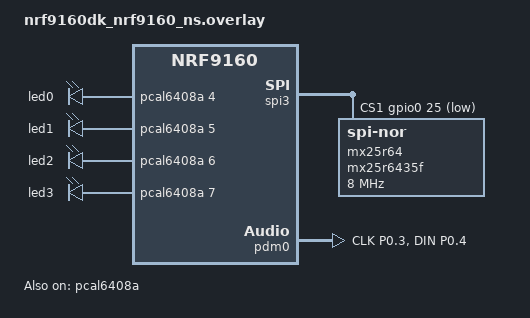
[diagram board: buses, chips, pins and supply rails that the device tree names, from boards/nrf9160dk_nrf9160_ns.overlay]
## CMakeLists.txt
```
cmake_minimum_required(VERSION 3.20.0)

set(CMAKE_CXX_STANDARD 11)
set(CMAKE_CXX_STANDARD_REQUIRED ON)

# This firmware uses X-Nucleo IKS02A1 shield
set(SHIELD x_nucleo_iks02a1)

find_package(Zephyr REQUIRED HINTS $ENV{ZEPHYR_BASE})

project(firmware-nordic-nrf91)

zephyr_compile_definitions(PROJECT_NAME=${PROJECT_NAME})

# Needed for colorful output
zephyr_compile_options(-fdiagnostics-color=always)

# Do not quantize filterbank
# Enable manual loop unrolling in DSP functions
add_definitions(-DEIDSP_QUANTIZE_FILTERBANK=0
                -DARM_MATH_LOOPUNROLL
                )

# Add all required source files
add_subdirectory(ei-model/edge-impulse-sdk/cmake/zephyr)
add_subdirectory(firmware-sdk)
add_subdirectory(src/inference)
add_subdirectory(src/sensors)
add_subdirectory(src)

# Include directories (everything in the SDK is already included here)
target_include_directories(app PRIVATE .)
target_include_directories(app PRIVATE ei-model)

# Use GLOB to include model files, because model file names differes whether model is EON compiled or not
RECURSIVE_FIND_FILE(MODEL_FILES ei-model/tflite-model "*.cpp")
target_sources(app PRIVATE ${MODEL_FILES})
```

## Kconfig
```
#
# Copyright (c) 2020 Nordic Semiconductor ASA
#
# SPDX-License-Identifier: LicenseRef-Nordic-5-Clause
#

menu "MQTT Edge Impulse Demo"
config MQTT_PUB_TOPIC_PREFIX
	string "MQTT publish topic"
	default "ei/demo"

config MQTT_BROKER_HOSTNAME
	string "MQTT broker hostname"
	default "broker.hivemq.com"

config MQTT_BROKER_PORT
	int "MQTT broker port"
	default 1883

config MQTT_RECONNECT_DELAY_S
	int "Seconds to delay before attempting to reconnect to the broker."
	default 60

config LTE_CONNECT_RETRY_DELAY_S
	int "Seconds to delay before attempting to retry LTE connection."
	default 120

endmenu

menu "Zephyr Kernel"
source "Kconfig.zephyr"
endmenu

module = MQTT_EI_DEMO
module-str = MQTT Edge Impulse Demo
source "${ZEPHYR_BASE}/subsys/logging/Kconfig.template.log_config"
```

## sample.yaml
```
sample:
  description: firmware-nordic-nrf91, the accelerometer and microphone Edge Impulse example for Zephyr
    application
  name: firmware-nordic-nrf91
common:
    tags: introduction
    harness: console
    harness_config:
      type: one_line
      regex:
        - "Hello World! (.*)"
```

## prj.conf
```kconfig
# /* The Clear BSD License
#  *
#  * Copyright (c) 2025 EdgeImpulse Inc.
#  * All rights reserved.
#  *
#  * Redistribution and use in source and binary forms, with or without
#  * modification, are permitted (subject to the limitations in the disclaimer
#  * below) provided that the following conditions are met:
#  *
#  *   * Redistributions of source code must retain the above copyright notice,
#  *   this list of conditions and the following disclaimer.
#  *
#  *   * Redistributions in binary form must reproduce the above copyright
#  *   notice, this list of conditions and the following disclaimer in the
#  *   documentation and/or other materials provided with the distribution.
#  *
#  *   * Neither the name of the copyright holder nor the names of its
#  *   contributors may be used to endorse or promote products derived from this
#  *   software without specific prior written permission.
#  *
#  * NO EXPRESS OR IMPLIED LICENSES TO ANY PARTY'S PATENT RIGHTS ARE GRANTED BY
#  * THIS LICENSE. THIS SOFTWARE IS PROVIDED BY THE COPYRIGHT HOLDERS AND
#  * CONTRIBUTORS "AS IS" AND ANY EXPRESS OR IMPLIED WARRANTIES, INCLUDING, BUT NOT
#  * LIMITED TO, THE IMPLIED WARRANTIES OF MERCHANTABILITY AND FITNESS FOR A
#  * PARTICULAR PURPOSE ARE DISCLAIMED. IN NO EVENT SHALL THE COPYRIGHT HOLDER OR
#  * CONTRIBUTORS BE LIABLE FOR ANY DIRECT, INDIRECT, INCIDENTAL, SPECIAL,
#  * EXEMPLARY, OR CONSEQUENTIAL DAMAGES (INCLUDING, BUT NOT LIMITED TO,
#  * PROCUREMENT OF SUBSTITUTE GOODS OR SERVICES; LOSS OF USE, DATA, OR PROFITS; OR
#  * BUSINESS INTERRUPTION) HOWEVER CAUSED AND ON ANY THEORY OF LIABILITY, WHETHER
#  * IN CONTRACT, STRICT LIABILITY, OR TORT (INCLUDING NEGLIGENCE OR OTHERWISE)
#  * ARISING IN ANY WAY OUT OF THE USE OF THIS SOFTWARE, EVEN IF ADVISED OF THE
#  * POSSIBILITY OF SUCH DAMAGE.
#  */

# General config
CONFIG_NEWLIB_LIBC=y
CONFIG_NEWLIB_LIBC_NANO=y
CONFIG_NEWLIB_LIBC_FLOAT_PRINTF=y
CONFIG_ASSERT=y
CONFIG_REBOOT=y
CONFIG_FPU=y
CONFIG_CPP=y
CONFIG_GLIBCXX_LIBCPP=y
CONFIG_BOOT_BANNER=n

# Heap and stacks
CONFIG_HEAP_MEM_POOL_SIZE=47250
CONFIG_MAIN_STACK_SIZE=2048
CONFIG_SYSTEM_WORKQUEUE_STACK_SIZE=4096
CONFIG_HW_STACK_PROTECTION=y

# Logging
CONFIG_LOG=y
CONFIG_LOG_MODE_DEFERRED=y
CONFIG_I2S_LOG_LEVEL_OFF=y
CONFIG_CBPRINTF_PACKAGE_LOG_LEVEL_OFF=y
CONFIG_FLASH_LOG_LEVEL_OFF=y
CONFIG_SENSOR_LOG_LEVEL_OFF=y
CONFIG_AUDIO_DMIC_LOG_LEVEL_WRN=y

# nRF modem library
CONFIG_NRF_MODEM_LIB=y
CONFIG_NRF_MODEM_LIB_ON_FAULT_APPLICATION_SPECIFIC=y

# Modem info
CONFIG_MODEM_INFO=y

# Flash - Used in FOTA, settings and storage for P-GPS.
CONFIG_FLASH=y
CONFIG_FLASH_PAGE_LAYOUT=y
CONFIG_FLASH_MAP=y
CONFIG_STREAM_FLASH=y
CONFIG_MPU_ALLOW_FLASH_WRITE=y
CONFIG_SPI_NOR_FLASH_LAYOUT_PAGE_SIZE=4096

# LEDs
CONFIG_LED=y
CONFIG_GPIO=y
CONFIG_LED_GPIO=y

# Audio/PDM support
CONFIG_I2S=y
CONFIG_AUDIO=y
CONFIG_AUDIO_DMIC=y

# Sensors on X-Nucleo IKS02A1
CONFIG_I2C=y
CONFIG_SENSOR=y

# UART Config
CONFIG_UART_INTERRUPT_DRIVEN=y
```

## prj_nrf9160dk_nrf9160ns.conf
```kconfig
# GPIO Settings
CONFIG_GPIO=y

# Enable c++ support
CONFIG_CPLUSPLUS=y
CONFIG_LIB_CPLUSPLUS=y
CONFIG_NEWLIB_LIBC=y
CONFIG_NEWLIB_LIBC_FLOAT_PRINTF=y

# Enable reboot from user space
CONFIG_REBOOT=y

# Peripheral settings
CONFIG_FPU=y

# Stack & Heap size
CONFIG_MAIN_STACK_SIZE=8192

# Serial console
CONFIG_SERIAL=y
CONFIG_UART_INTERRUPT_DRIVEN=y
CONFIG_CONSOLE_SUBSYS=n
CONFIG_CONSOLE_GETCHAR=n

# i2c configuration for accelerometer
CONFIG_I2C=y
CONFIG_I2C_NRFX=y

# GPIO expander for controlling LEDs
CONFIG_GPIO_PCAL6408A=y

# Enable PDM driver
CONFIG_NRFX_PDM=y

# Logging settings
CONFIG_ASSERT=y
CONFIG_DEBUG=y
CONFIG_LOG=y

# External Flash memory
CONFIG_FLASH=y
CONFIG_FLASH_PAGE_LAYOUT=y
CONFIG_MPU_ALLOW_FLASH_WRITE=y
CONFIG_SPI=y
CONFIG_SPI_NOR=y
CONFIG_SPI_NOR_FLASH_LAYOUT_PAGE_SIZE=4096
CONFIG_SPI_NOR_SFDP_DEVICETREE=y

# Modem info
CONFIG_HEAP_MEM_POOL_SIZE=4096
CONFIG_AT_CMD=y

# Logging
CONFIG_ASSERT=y
CONFIG_DEBUG=y
CONFIG_LOG=y

# Networking
CONFIG_NETWORKING=y
CONFIG_NET_SOCKETS=y
CONFIG_MODEM_INFO=y
CONFIG_NET_NATIVE=n
CONFIG_NET_SOCKETS_OFFLOAD=y
CONFIG_NET_SOCKETS_POSIX_NAMES=y

# LTE link control
CONFIG_LTE_LINK_CONTROL=y
CONFIG_LTE_AUTO_INIT_AND_CONNECT=n

# Enable PDN management
CONFIG_PDN=y
CONFIG_PDN_SYS_INIT=y
CONFIG_PDN_DEFAULTS_OVERRIDE=y
CONFIG_PDN_LEGACY_PCO=y
CONFIG_PDN_DEFAULT_APN="arkessalp.com"
#CONFIG_PDN_DEFAULT_FAM=0
#CONFIG_PDN_DEFAULT_AUTH=0
CONFIG_PDN_DEFAULT_USERNAME="arkessa"
CONFIG_PDN_DEFAULT_PASSWORD="arkessa"

# Set network type
CONFIG_LTE_NETWORK_MODE_NBIOT_GPS=y

# Modem library
CONFIG_NRF_MODEM_LIB=y

# AT Host
# CONFIG_AT_HOST_LIBRARY=y

# MQTT
CONFIG_MQTT_LIB=y
CONFIG_MQTT_LIB_TLS=n
CONFIG_MQTT_CLEAN_SESSION=y

CONFIG_NRF_MODEM_LIB_SYS_INIT=n
# CONFIG_MODEM_KEY_MGMT=y
```

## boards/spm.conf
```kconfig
# /* The Clear BSD License
#  *
#  * Copyright (c) 2025 EdgeImpulse Inc.
#  * All rights reserved.
#  *
#  * Redistribution and use in source and binary forms, with or without
#  * modification, are permitted (subject to the limitations in the disclaimer
#  * below) provided that the following conditions are met:
#  *
#  *   * Redistributions of source code must retain the above copyright notice,
#  *   this list of conditions and the following disclaimer.
#  *
#  *   * Redistributions in binary form must reproduce the above copyright
#  *   notice, this list of conditions and the following disclaimer in the
#  *   documentation and/or other materials provided with the distribution.
#  *
#  *   * Neither the name of the copyright holder nor the names of its
#  *   contributors may be used to endorse or promote products derived from this
#  *   software without specific prior written permission.
#  *
#  * NO EXPRESS OR IMPLIED LICENSES TO ANY PARTY'S PATENT RIGHTS ARE GRANTED BY
#  * THIS LICENSE. THIS SOFTWARE IS PROVIDED BY THE COPYRIGHT HOLDERS AND
#  * CONTRIBUTORS "AS IS" AND ANY EXPRESS OR IMPLIED WARRANTIES, INCLUDING, BUT NOT
#  * LIMITED TO, THE IMPLIED WARRANTIES OF MERCHANTABILITY AND FITNESS FOR A
#  * PARTICULAR PURPOSE ARE DISCLAIMED. IN NO EVENT SHALL THE COPYRIGHT HOLDER OR
#  * CONTRIBUTORS BE LIABLE FOR ANY DIRECT, INDIRECT, INCIDENTAL, SPECIAL,
#  * EXEMPLARY, OR CONSEQUENTIAL DAMAGES (INCLUDING, BUT NOT LIMITED TO,
#  * PROCUREMENT OF SUBSTITUTE GOODS OR SERVICES; LOSS OF USE, DATA, OR PROFITS; OR
#  * BUSINESS INTERRUPTION) HOWEVER CAUSED AND ON ANY THEORY OF LIABILITY, WHETHER
#  * IN CONTRACT, STRICT LIABILITY, OR TORT (INCLUDING NEGLIGENCE OR OTHERWISE)
#  * ARISING IN ANY WAY OUT OF THE USE OF THIS SOFTWARE, EVEN IF ADVISED OF THE
#  * POSSIBILITY OF SUCH DAMAGE.
#  */

CONFIG_IS_SPM=y

# Make watchdog timers non-secure (so they can be used in the non-secure image).
CONFIG_NRFX_PDM=y
```

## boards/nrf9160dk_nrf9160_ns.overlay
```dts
/* The Clear BSD License
 *
 * Copyright (c) 2025 EdgeImpulse Inc.
 * All rights reserved.
 *
 * Redistribution and use in source and binary forms, with or without
 * modification, are permitted (subject to the limitations in the disclaimer
 * below) provided that the following conditions are met:
 *
 *   * Redistributions of source code must retain the above copyright notice,
 *   this list of conditions and the following disclaimer.
 *
 *   * Redistributions in binary form must reproduce the above copyright
 *   notice, this list of conditions and the following disclaimer in the
 *   documentation and/or other materials provided with the distribution.
 *
 *   * Neither the name of the copyright holder nor the names of its
 *   contributors may be used to endorse or promote products derived from this
 *   software without specific prior written permission.
 *
 * NO EXPRESS OR IMPLIED LICENSES TO ANY PARTY'S PATENT RIGHTS ARE GRANTED BY
 * THIS LICENSE. THIS SOFTWARE IS PROVIDED BY THE COPYRIGHT HOLDERS AND
 * CONTRIBUTORS "AS IS" AND ANY EXPRESS OR IMPLIED WARRANTIES, INCLUDING, BUT NOT
 * LIMITED TO, THE IMPLIED WARRANTIES OF MERCHANTABILITY AND FITNESS FOR A
 * PARTICULAR PURPOSE ARE DISCLAIMED. IN NO EVENT SHALL THE COPYRIGHT HOLDER OR
 * CONTRIBUTORS BE LIABLE FOR ANY DIRECT, INDIRECT, INCIDENTAL, SPECIAL,
 * EXEMPLARY, OR CONSEQUENTIAL DAMAGES (INCLUDING, BUT NOT LIMITED TO,
 * PROCUREMENT OF SUBSTITUTE GOODS OR SERVICES; LOSS OF USE, DATA, OR PROFITS; OR
 * BUSINESS INTERRUPTION) HOWEVER CAUSED AND ON ANY THEORY OF LIABILITY, WHETHER
 * IN CONTRACT, STRICT LIABILITY, OR TORT (INCLUDING NEGLIGENCE OR OTHERWISE)
 * ARISING IN ANY WAY OUT OF THE USE OF THIS SOFTWARE, EVEN IF ADVISED OF THE
 * POSSIBILITY OF SUCH DAMAGE.
 */

/ {
	aliases {
		ext-flash = &mx25r64;
	};

	/* Configure partition manager to use mx25r64 as the external flash */
	chosen {
		nordic,pm-ext-flash = &mx25r64;
	};
};

&pcal6408a {
	status = "okay";
};

&led0 {
	gpios = <&pcal6408a 4 GPIO_ACTIVE_HIGH>;
};

&led1 {
	gpios = <&pcal6408a 5 GPIO_ACTIVE_HIGH>;
};

&led2 {
	gpios = <&pcal6408a 6 GPIO_ACTIVE_HIGH>;
};

&led3 {
	gpios = <&pcal6408a 7 GPIO_ACTIVE_HIGH>;
};

&spi3 {
	cs-gpios = <&arduino_header 16 GPIO_ACTIVE_LOW>, /* D10 */
		   <&gpio0 25 GPIO_ACTIVE_LOW>;
	mx25r64: mx25r6435f@1 {
		compatible = "jedec,spi-nor";
		reg = <1>;
		spi-max-frequency = <8000000>;
		jedec-id = [c2 28 17];
		sfdp-bfp = [
			e5 20 f1 ff  ff ff ff 03  44 eb 08 6b  08 3b 04 bb
			ee ff ff ff  ff ff 00 ff  ff ff 00 ff  0c 20 0f 52
			10 d8 00 ff  23 72 f5 00  82 ed 04 cc  44 83 68 44
			30 b0 30 b0  f7 c4 d5 5c  00 be 29 ff  f0 d0 ff ff
		];
		size = <67108864>;
		mxicy,mx25r-power-mode = "high-performance";
	};
};

/* Enable high drive mode for the SPI3 pins to get a square signal at 8 MHz */
&spi3_default {
	group1 {
		nordic,drive-mode = <NRF_DRIVE_H0H1>;
	};
};

&pinctrl {
	pdm0_default: pdm0_default {
		group1 {
			psels = <NRF_PSEL(PDM_CLK, 0, 3)>,
					<NRF_PSEL(PDM_DIN, 0, 4)>;
		};
	};
};

dmic_dev: &pdm0 {
	status = "okay";
	pinctrl-0 = <&pdm0_default>;
	pinctrl-names = "default";
};
```

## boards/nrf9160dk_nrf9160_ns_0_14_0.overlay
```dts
/* The Clear BSD License
 *
 * Copyright (c) 2025 EdgeImpulse Inc.
 * All rights reserved.
 *
 * Redistribution and use in source and binary forms, with or without
 * modification, are permitted (subject to the limitations in the disclaimer
 * below) provided that the following conditions are met:
 *
 *   * Redistributions of source code must retain the above copyright notice,
 *   this list of conditions and the following disclaimer.
 *
 *   * Redistributions in binary form must reproduce the above copyright
 *   notice, this list of conditions and the following disclaimer in the
 *   documentation and/or other materials provided with the distribution.
 *
 *   * Neither the name of the copyright holder nor the names of its
 *   contributors may be used to endorse or promote products derived from this
 *   software without specific prior written permission.
 *
 * NO EXPRESS OR IMPLIED LICENSES TO ANY PARTY'S PATENT RIGHTS ARE GRANTED BY
 * THIS LICENSE. THIS SOFTWARE IS PROVIDED BY THE COPYRIGHT HOLDERS AND
 * CONTRIBUTORS "AS IS" AND ANY EXPRESS OR IMPLIED WARRANTIES, INCLUDING, BUT NOT
 * LIMITED TO, THE IMPLIED WARRANTIES OF MERCHANTABILITY AND FITNESS FOR A
 * PARTICULAR PURPOSE ARE DISCLAIMED. IN NO EVENT SHALL THE COPYRIGHT HOLDER OR
 * CONTRIBUTORS BE LIABLE FOR ANY DIRECT, INDIRECT, INCIDENTAL, SPECIAL,
 * EXEMPLARY, OR CONSEQUENTIAL DAMAGES (INCLUDING, BUT NOT LIMITED TO,
 * PROCUREMENT OF SUBSTITUTE GOODS OR SERVICES; LOSS OF USE, DATA, OR PROFITS; OR
 * BUSINESS INTERRUPTION) HOWEVER CAUSED AND ON ANY THEORY OF LIABILITY, WHETHER
 * IN CONTRACT, STRICT LIABILITY, OR TORT (INCLUDING NEGLIGENCE OR OTHERWISE)
 * ARISING IN ANY WAY OUT OF THE USE OF THIS SOFTWARE, EVEN IF ADVISED OF THE
 * POSSIBILITY OF SUCH DAMAGE.
 */

/ {
	/* Configure partition manager to use mx25r64 as the external flash */
	chosen {
		nordic,pm-ext-flash = &mx25r64;
	};
};

&mx25r64 {
	status = "okay";
};

&pinctrl {
	pdm0_default: pdm0_default {
		group1 {
			psels = <NRF_PSEL(PDM_CLK, 0, 3)>,
					<NRF_PSEL(PDM_DIN, 0, 4)>;
		};
	};
};

dmic_dev: &pdm0 {
	status = "okay";
	pinctrl-0 = <&pdm0_default>;
	pinctrl-names = "default";
};
```

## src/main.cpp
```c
/* The Clear BSD License
 *
 * Copyright (c) 2025 EdgeImpulse Inc.
 * All rights reserved.
 *
 * Redistribution and use in source and binary forms, with or without
 * modification, are permitted (subject to the limitations in the disclaimer
 * below) provided that the following conditions are met:
 *
 *   * Redistributions of source code must retain the above copyright notice,
 *   this list of conditions and the following disclaimer.
 *
 *   * Redistributions in binary form must reproduce the above copyright
 *   notice, this list of conditions and the following disclaimer in the
 *   documentation and/or other materials provided with the distribution.
 *
 *   * Neither the name of the copyright holder nor the names of its
 *   contributors may be used to endorse or promote products derived from this
 *   software without specific prior written permission.
 *
 * NO EXPRESS OR IMPLIED LICENSES TO ANY PARTY'S PATENT RIGHTS ARE GRANTED BY
 * THIS LICENSE. THIS SOFTWARE IS PROVIDED BY THE COPYRIGHT HOLDERS AND
 * CONTRIBUTORS "AS IS" AND ANY EXPRESS OR IMPLIED WARRANTIES, INCLUDING, BUT NOT
 * LIMITED TO, THE IMPLIED WARRANTIES OF MERCHANTABILITY AND FITNESS FOR A
 * PARTICULAR PURPOSE ARE DISCLAIMED. IN NO EVENT SHALL THE COPYRIGHT HOLDER OR
 * CONTRIBUTORS BE LIABLE FOR ANY DIRECT, INDIRECT, INCIDENTAL, SPECIAL,
 * EXEMPLARY, OR CONSEQUENTIAL DAMAGES (INCLUDING, BUT NOT LIMITED TO,
 * PROCUREMENT OF SUBSTITUTE GOODS OR SERVICES; LOSS OF USE, DATA, OR PROFITS; OR
 * BUSINESS INTERRUPTION) HOWEVER CAUSED AND ON ANY THEORY OF LIABILITY, WHETHER
 * IN CONTRACT, STRICT LIABILITY, OR TORT (INCLUDING NEGLIGENCE OR OTHERWISE)
 * ARISING IN ANY WAY OUT OF THE USE OF THIS SOFTWARE, EVEN IF ADVISED OF THE
 * POSSIBILITY OF SUCH DAMAGE.
 */

#include <zephyr/logging/log.h>
LOG_MODULE_REGISTER(main, CONFIG_EI_LOG_LEVEL);

#include <zephyr/kernel.h>
#include <modem/nrf_modem_lib.h>
#include <zephyr/drivers/uart.h>
#include <modem/lte_lc.h>
#include <modem/pdn.h>
#include "edge-impulse-sdk/porting/ei_classifier_porting.h"
#include "ei_device_nrf91.h"
#include "ei_at_handlers.h"
#include "ei_ws_client.h"
#include "inference/ei_run_impulse.h"
#include "sensors/ei_accelerometer.h"
#include "sensors/ei_inertial.h"
#include "sensors/ei_magnetometer.h"
#include "sensors/ei_microphone.h"

const struct device *uart;

void ei_putchar(char c)
{
    // it is ~30% faster than printf
    uart_poll_out(uart, c);
}

void nrf_modem_fault_handler(struct nrf_modem_fault_info *fault_info)
{
	LOG_ERR("Modem error: 0x%x, PC: 0x%x", fault_info->reason, fault_info->program_counter);
}

#ifdef CONFIG_REMOTE_INGESTION
void pdn_event_handler(uint8_t cid, enum pdn_event event, int reason)
{
	switch (event) {
	case PDN_EVENT_CNEC_ESM:
		LOG_DBG("PDP context %d error, %s", cid, pdn_esm_strerror(reason));
		break;
	case PDN_EVENT_ACTIVATED:
		LOG_DBG("PDP context %d activated", cid);
		break;
	case PDN_EVENT_DEACTIVATED:
		LOG_DBG("PDP context %d deactivated", cid);
		break;
	case PDN_EVENT_NETWORK_DETACH:
		LOG_DBG("PDP context %d network detached", cid);
		break;
	case PDN_EVENT_IPV6_UP:
		LOG_DBG("PDP context %d IPv6 up", cid);
		break;
	case PDN_EVENT_IPV6_DOWN:
		LOG_DBG("PDP context %d IPv6 down", cid);
		break;
	default:
		LOG_DBG("PDP context %d, unknown event %d", cid, event);
		break;
	}
}

bool modem_connect(void)
{
	int ret;

	LOG_DBG("Modem Lib init...");
	ret = nrf_modem_lib_init();
	if (ret < 0) {
		LOG_ERR("Unable to init modem library (%d)", ret);
		return false;
	}
	LOG_DBG("Modem Lib init... OK");

	/* Setup a callback for the default PDP context (zero).
	 * Do this before switching to function mode 1 (CFUN=1)
	 * to receive the first activation event.
	 */
	LOG_DBG("PDN context init...");
	ret = pdn_default_ctx_cb_reg(pdn_event_handler);
	if (ret) {
		LOG_ERR("pdn_default_ctx_cb_reg() failed, err %d", ret);
		return false;
	}
	LOG_DBG("PDN context init... OK");

	LOG_DBG("Waiting for network...");
	ret = lte_lc_init_and_connect();
	if (ret) {
		LOG_ERR("Failed to connect to the LTE network, err %d", ret);
		return false;
	}
	LOG_DBG("Waiting for network... OK");

	return true;
}
#endif

int main(void)
{
    char rcv_char;
    ATServer *at;

    /* This is needed so that output of printf
       is output immediately without buffering
    */
    setvbuf(stdout, NULL, _IONBF, 0);

    uart = DEVICE_DT_GET(DT_CHOSEN(zephyr_shell_uart));
    if (!device_is_ready(uart)) {
		LOG_ERR("%s: device not ready\n", uart->name);
	}

    EiDeviceNRF91* dev = static_cast<EiDeviceNRF91*>(EiDeviceInfo::get_device());

#ifdef CONFIG_REMOTE_INGESTION
	if(!modem_connect()) {
		LOG_ERR("Modem connection failed!");
	}
	else {
    	ei_ws_client_start(dev, at_sample_start);
	}
#else
	// we need modem library to get IMEI and obtain unique device ID
	int ret = nrf_modem_lib_init();
	if (ret < 0) {
		LOG_ERR("Unable to init modem library (%d)", ret);
	}
#endif

    ei_accelerometer_init();
    ei_inertial_init();
    ei_magnetometer_init();
    ei_microphone_init();

    dev->set_state(eiStateFinished);

    // Init AT Server and print initial prompt
    at = ei_at_init(dev);
    ei_printf("Type AT+HELP to see a list of commands.\r\n");
    at->print_prompt();

    while(true) {
        while(uart_fifo_read(uart, (uint8_t*)&rcv_char, 1) == 1) {
            if(is_inference_running() && rcv_char == 'b') {
                ei_stop_impulse();
                at->print_prompt();
                continue;
            }
            at->handle(rcv_char);
        }
        if(is_inference_running() == true) {
            ei_run_impulse();
        }
        k_sleep(K_MSEC(1));
    }

    return 0;
}
```

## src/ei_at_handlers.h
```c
/* The Clear BSD License
 *
 * Copyright (c) 2025 EdgeImpulse Inc.
 * All rights reserved.
 *
 * Redistribution and use in source and binary forms, with or without
 * modification, are permitted (subject to the limitations in the disclaimer
 * below) provided that the following conditions are met:
 *
 *   * Redistributions of source code must retain the above copyright notice,
 *   this list of conditions and the following disclaimer.
 *
 *   * Redistributions in binary form must reproduce the above copyright
 *   notice, this list of conditions and the following disclaimer in the
 *   documentation and/or other materials provided with the distribution.
 *
 *   * Neither the name of the copyright holder nor the names of its
 *   contributors may be used to endorse or promote products derived from this
 *   software without specific prior written permission.
 *
 * NO EXPRESS OR IMPLIED LICENSES TO ANY PARTY'S PATENT RIGHTS ARE GRANTED BY
 * THIS LICENSE. THIS SOFTWARE IS PROVIDED BY THE COPYRIGHT HOLDERS AND
 * CONTRIBUTORS "AS IS" AND ANY EXPRESS OR IMPLIED WARRANTIES, INCLUDING, BUT NOT
 * LIMITED TO, THE IMPLIED WARRANTIES OF MERCHANTABILITY AND FITNESS FOR A
 * PARTICULAR PURPOSE ARE DISCLAIMED. IN NO EVENT SHALL THE COPYRIGHT HOLDER OR
 * CONTRIBUTORS BE LIABLE FOR ANY DIRECT, INDIRECT, INCIDENTAL, SPECIAL,
 * EXEMPLARY, OR CONSEQUENTIAL DAMAGES (INCLUDING, BUT NOT LIMITED TO,
 * PROCUREMENT OF SUBSTITUTE GOODS OR SERVICES; LOSS OF USE, DATA, OR PROFITS; OR
 * BUSINESS INTERRUPTION) HOWEVER CAUSED AND ON ANY THEORY OF LIABILITY, WHETHER
 * IN CONTRACT, STRICT LIABILITY, OR TORT (INCLUDING NEGLIGENCE OR OTHERWISE)
 * ARISING IN ANY WAY OUT OF THE USE OF THIS SOFTWARE, EVEN IF ADVISED OF THE
 * POSSIBILITY OF SUCH DAMAGE.
 */

#ifndef EI_AT_HANDLERS_H
#define EI_AT_HANDLERS_H
#include "firmware-sdk/at-server/ei_at_server.h"
#include "ei_device_nrf91.h"

ATServer *ei_at_init(EiDeviceNRF91 *device);

// expose this handler, so EI WebSocket client can use the same handler to start sample acquisition
bool at_sample_start(const char **argv, const int argc);

#endif /* EI_AT_HANDLERS_H */
```

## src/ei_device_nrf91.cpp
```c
/* The Clear BSD License
 *
 * Copyright (c) 2025 EdgeImpulse Inc.
 * All rights reserved.
 *
 * Redistribution and use in source and binary forms, with or without
 * modification, are permitted (subject to the limitations in the disclaimer
 * below) provided that the following conditions are met:
 *
 *   * Redistributions of source code must retain the above copyright notice,
 *   this list of conditions and the following disclaimer.
 *
 *   * Redistributions in binary form must reproduce the above copyright
 *   notice, this list of conditions and the following disclaimer in the
 *   documentation and/or other materials provided with the distribution.
 *
 *   * Neither the name of the copyright holder nor the names of its
 *   contributors may be used to endorse or promote products derived from this
 *   software without specific prior written permission.
 *
 * NO EXPRESS OR IMPLIED LICENSES TO ANY PARTY'S PATENT RIGHTS ARE GRANTED BY
 * THIS LICENSE. THIS SOFTWARE IS PROVIDED BY THE COPYRIGHT HOLDERS AND
 * CONTRIBUTORS "AS IS" AND ANY EXPRESS OR IMPLIED WARRANTIES, INCLUDING, BUT NOT
 * LIMITED TO, THE IMPLIED WARRANTIES OF MERCHANTABILITY AND FITNESS FOR A
 * PARTICULAR PURPOSE ARE DISCLAIMED. IN NO EVENT SHALL THE COPYRIGHT HOLDER OR
 * CONTRIBUTORS BE LIABLE FOR ANY DIRECT, INDIRECT, INCIDENTAL, SPECIAL,
 * EXEMPLARY, OR CONSEQUENTIAL DAMAGES (INCLUDING, BUT NOT LIMITED TO,
 * PROCUREMENT OF SUBSTITUTE GOODS OR SERVICES; LOSS OF USE, DATA, OR PROFITS; OR
 * BUSINESS INTERRUPTION) HOWEVER CAUSED AND ON ANY THEORY OF LIABILITY, WHETHER
 * IN CONTRACT, STRICT LIABILITY, OR TORT (INCLUDING NEGLIGENCE OR OTHERWISE)
 * ARISING IN ANY WAY OUT OF THE USE OF THIS SOFTWARE, EVEN IF ADVISED OF THE
 * POSSIBILITY OF SUCH DAMAGE.
 */

#include <zephyr/logging/log.h>
LOG_MODULE_REGISTER(ei_device, CONFIG_EI_LOG_LEVEL);
#include <cstdlib>
#include <cstdio>
#include <cstdint>
#include <zephyr/kernel.h>
#include <modem/modem_info.h>
#include <zephyr/drivers/gpio.h>
#include "ei_device_nrf91.h"
#include "flash_memory.h"
#include "sensors/ei_microphone.h"
#include "edge-impulse-sdk/porting/ei_classifier_porting.h"

using namespace std;
static const struct gpio_dt_spec led0 = GPIO_DT_SPEC_GET(DT_ALIAS(led0), gpios);
static const struct gpio_dt_spec led1 = GPIO_DT_SPEC_GET(DT_ALIAS(led1), gpios);
static const struct gpio_dt_spec led2 = GPIO_DT_SPEC_GET(DT_ALIAS(led2), gpios);
static const struct gpio_dt_spec led3 = GPIO_DT_SPEC_GET(DT_ALIAS(led3), gpios);
static void led_timer_handler(struct k_timer *dummy);
static void led_work_handler(struct k_work *work);
static void sampler_timer_handler(struct k_timer *dummy);
static void sampler_work_handler(struct k_work *work);
static void set_all_leds(uint8_t state);

K_TIMER_DEFINE(led_timer, led_timer_handler, NULL);
K_WORK_DEFINE(led_work, led_work_handler);
K_TIMER_DEFINE(sampler_timer, sampler_timer_handler, NULL);
K_WORK_DEFINE(sampler_work, sampler_work_handler);

static void led_work_handler(struct k_work *work)
{
    EiDeviceNRF91 *dev = static_cast<EiDeviceNRF91*>(EiDeviceInfo::get_device());
    EiState state = dev->get_state();
    static uint8_t animation = 0;
    static uint8_t blink;

    switch(state)
    {
        case eiStateErasingFlash:
            gpio_pin_set_dt(&led0, blink++ % 2);
            break;
        case eiStateSampling:
            gpio_pin_set_dt(&led1, blink++ % 2);
            break;
        case eiStateUploading:
            gpio_pin_set_dt(&led2, blink++ % 2);
            break;
        case eiStateFinished:
            blink = 0;
            if(animation == 0) {
                animation = 0x88;
            }
            break;
        default:
            break;
    }

    if(animation == 0) {
        return;
    }

    set_all_leds(animation & 0x0f);
    animation >>= 1;

    if(!animation) {
        dev->set_state(eiStateIdle);
    }
}

static void led_timer_handler(struct k_timer *dummy)
{
    k_work_submit(&led_work);
}

static void sampler_timer_handler(struct k_timer *dummy)
{
    k_work_submit(&sampler_work);
}

static void sampler_work_handler(struct k_work *work)
{
    EiDeviceNRF91 *dev = static_cast<EiDeviceNRF91*>(EiDeviceInfo::get_device());

#if MULTI_FREQ_ENABLED == 1
    if (dev->get_fusioning() == 1){
        dev->sample_read_callback();
    }
    else {
        uint8_t flag = 0;
        uint8_t i = 0;
        dev->actual_timer += dev->get_sample_interval();

        for (i = 0; i < dev->get_fusioning(); i++){
            if (((uint32_t)(dev->actual_timer % (uint32_t)dev->multi_sample_interval.at(i))) == 0) {
                flag |= (1<<i);
            }
        }
        if (dev->sample_multi_read_callback != nullptr)
        {
            dev->sample_multi_read_callback(flag);

        }
    }
#else
    dev->sample_read_callback();
#endif
}

/*
    state encodes state of LEDs
    bit 0 -> LED0
    bit 1 -> LED1
    ...
 */
static void set_all_leds(uint8_t state)
{
    gpio_pin_set_dt(&led0, state & (1 << 0));
    gpio_pin_set_dt(&led1, state & (1 << 1));
    // LEDs 2 & 3 swap is intentional
    // otherwise we won't be able to see
    // spinning animation
    gpio_pin_set_dt(&led3, state & (1 << 2));
    gpio_pin_set_dt(&led2, state & (1 << 3));
}


EiDeviceNRF91::EiDeviceNRF91(EiDeviceMemory* mem)
{
    EiDeviceInfo::memory = mem;

    load_config();

    gpio_pin_configure_dt(&led0, GPIO_OUTPUT_ACTIVE);
    gpio_pin_configure_dt(&led1, GPIO_OUTPUT_ACTIVE);
    gpio_pin_configure_dt(&led2, GPIO_OUTPUT_ACTIVE);
    gpio_pin_configure_dt(&led3, GPIO_OUTPUT_ACTIVE);

    device_type = "NORDIC_NRF91";

    standalone_sensor_list[0].name = "Microphone";
    standalone_sensor_list[0].frequencies[0] = 16000.0f;
    standalone_sensor_list[0].start_sampling_cb = &ei_microphone_sample_start;
    standalone_sensor_list[0].max_sample_length_s = mem->get_available_sample_bytes() / (16000 * sizeof(microphone_sample_t));
}

EiDeviceNRF91::~EiDeviceNRF91()
{

}

string EiDeviceNRF91::get_mac_address(void)
{
    return mac_address;
}

void EiDeviceNRF91::init_device_id(void)
{
    char temp[18];
    char buf[32];

    /* Read IMEI from modem since ID registers are not accessible from non-secure */
    int err = modem_info_init();
    if(err == 0) {
        err = modem_info_string_get(MODEM_INFO_IMEI, buf, sizeof(buf));
        if(err > 0) {
            // prepare buffer (fill with ':' and end with null char)
            memset(temp, 0, 18);
            memset(temp, ':', 17);
            // copy last 12 digits of IMEI to MAC-like string
            for(int i=0; i<6; i++) {
                memcpy(&temp[i*3], &buf[3 + i*2], 2);
            }
            device_id = string(temp);
            mac_address = string(temp);
            return;
        }
        else {
            LOG_ERR("Failed to get IMEI (%d)", err);
        }
    }
    else {
        LOG_ERR("Failed to initialize modem info");
    }

    // fallback to zero only ID
    device_id = string("00:00:00:00:00:00");
    mac_address = string("00:00:00:00:00:00");

    save_config();
}

/**
 * @brief get_device is a static method of EiDeviceInfo class
 * It is used to implement singleton paradigm, so we are returning
 * here pointer always to the same object (dev)
 *
 * @return EiDeviceInfo*
 */
EiDeviceInfo* EiDeviceInfo::get_device(void)
{
    static EiFlashMemory memory(sizeof(EiConfig));
    static EiDeviceNRF91 dev(&memory);

    return &dev;
}

bool EiDeviceNRF91::start_sample_thread(void (*sample_read_cb)(void), float sample_interval_ms)
{
    this->sample_read_callback = sample_read_cb;

#if MULTI_FREQ_ENABLED == 1
    this->fusioning = 1;
#endif
    k_timer_start(&sampler_timer, K_MSEC(sample_interval_ms), K_MSEC(sample_interval_ms));

    return true;
}

#if MULTI_FREQ_ENABLED == 1
bool EiDeviceNRF91::start_multi_sample_thread(void (*sample_multi_read_cb)(uint8_t), float* multi_sample_interval_ms, uint8_t num_fusioned)
{
    uint8_t i;
    uint8_t flag = 0;

    this->sample_multi_read_callback = sample_multi_read_cb;
    this->fusioning = num_fusioned;
    this->multi_sample_interval.clear();

    for (i = 0; i < num_fusioned; i++){
        this->multi_sample_interval.push_back(1.f/multi_sample_interval_ms[i]*1000.f);
    }
    /* to improve, we consider just a 2 sensors case for now */
    this->sample_interval = ei_fusion_calc_multi_gcd(this->multi_sample_interval.data(), this->fusioning);

    /* force first reading */
    for (i = 0; i < this->fusioning; i++){
        flag |= (1<<i);
    }
    this->sample_multi_read_callback(flag);

    this->actual_timer = 0;

    k_timer_start(&sampler_timer, K_MSEC(sample_interval_ms), K_MSEC(sample_interval_ms));

    return true;
}
#endif

bool EiDeviceNRF91::stop_sample_thread(void)
{
    k_timer_stop(&sampler_timer);

    return true;
}

void EiDeviceNRF91::set_state(EiState state)
{
    this->state = state;

    set_all_leds(0x00);

    switch(state) {
        case eiStateErasingFlash:
        case eiStateSampling:
        case eiStateUploading:
        case eiStateFinished:
            k_timer_start(&led_timer, K_MSEC(250), K_MSEC(250));
            break;
        case eiStateIdle:
        default:
            k_timer_stop(&led_timer);
            set_all_leds(0x00);
            break;
    }
}

EiState EiDeviceNRF91::get_state(void)
{
    return this->state;
}

const std::string& EiDeviceNRF91::get_device_id(void)
{
    static bool initialized = false;

    if(!initialized) {
        init_device_id();
        initialized = true;
    }

    return device_id;
}

bool EiDeviceNRF91::get_sensor_list(const ei_device_sensor_t **sensor_list, size_t *sensor_list_size)
{
    *sensor_list = this->standalone_sensor_list;
    *sensor_list_size = this->standalone_sensor_num;

    return true;
}

uint32_t EiDeviceNRF91::get_data_output_baudrate(void)
{
    return 115200;
}
```

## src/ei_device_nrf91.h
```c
/* The Clear BSD License
 *
 * Copyright (c) 2025 EdgeImpulse Inc.
 * All rights reserved.
 *
 * Redistribution and use in source and binary forms, with or without
 * modification, are permitted (subject to the limitations in the disclaimer
 * below) provided that the following conditions are met:
 *
 *   * Redistributions of source code must retain the above copyright notice,
 *   this list of conditions and the following disclaimer.
 *
 *   * Redistributions in binary form must reproduce the above copyright
 *   notice, this list of conditions and the following disclaimer in the
 *   documentation and/or other materials provided with the distribution.
 *
 *   * Neither the name of the copyright holder nor the names of its
 *   contributors may be used to endorse or promote products derived from this
 *   software without specific prior written permission.
 *
 * NO EXPRESS OR IMPLIED LICENSES TO ANY PARTY'S PATENT RIGHTS ARE GRANTED BY
 * THIS LICENSE. THIS SOFTWARE IS PROVIDED BY THE COPYRIGHT HOLDERS AND
 * CONTRIBUTORS "AS IS" AND ANY EXPRESS OR IMPLIED WARRANTIES, INCLUDING, BUT NOT
 * LIMITED TO, THE IMPLIED WARRANTIES OF MERCHANTABILITY AND FITNESS FOR A
 * PARTICULAR PURPOSE ARE DISCLAIMED. IN NO EVENT SHALL THE COPYRIGHT HOLDER OR
 * CONTRIBUTORS BE LIABLE FOR ANY DIRECT, INDIRECT, INCIDENTAL, SPECIAL,
 * EXEMPLARY, OR CONSEQUENTIAL DAMAGES (INCLUDING, BUT NOT LIMITED TO,
 * PROCUREMENT OF SUBSTITUTE GOODS OR SERVICES; LOSS OF USE, DATA, OR PROFITS; OR
 * BUSINESS INTERRUPTION) HOWEVER CAUSED AND ON ANY THEORY OF LIABILITY, WHETHER
 * IN CONTRACT, STRICT LIABILITY, OR TORT (INCLUDING NEGLIGENCE OR OTHERWISE)
 * ARISING IN ANY WAY OUT OF THE USE OF THIS SOFTWARE, EVEN IF ADVISED OF THE
 * POSSIBILITY OF SUCH DAMAGE.
 */

#ifndef EI_DEVICE_NRF91_H
#define EI_DEVICE_NRF91_H

#include "firmware-sdk/ei_device_info_lib.h"
#include "firmware-sdk/ei_device_memory.h"
#include "ei_fusion_sensors_config.h"

class EiDeviceNRF91 : public EiDeviceInfo {
private:
    EiDeviceNRF91() = delete;
    std::string mac_address = "00:11:22:33:44:55:66";
    EiState state;
    static const int standalone_sensor_num = 1;
    ei_device_sensor_t standalone_sensor_list[standalone_sensor_num];

public:
    std::string get_mac_address(void);

    EiDeviceNRF91(EiDeviceMemory* mem);
    ~EiDeviceNRF91();

    void (*sample_read_callback)(void);
    void init_device_id(void);
    bool start_sample_thread(void (*sample_read_cb)(void), float sample_interval_ms) override;
    bool stop_sample_thread(void) override;

    void set_state(EiState state) override;
    EiState get_state(void);

    const std::string& get_device_id(void) override;

    bool get_sensor_list(const ei_device_sensor_t **sensor_list, size_t *sensor_list_size) override;
    uint32_t get_data_output_baudrate(void) override;

#if MULTI_FREQ_ENABLED == 1
    bool start_multi_sample_thread(void (*sample_multi_read_cb)(uint8_t), float* multi_sample_interval_ms, uint8_t num_fusioned) override;
    void (*sample_multi_read_callback)(uint8_t);
#endif
};

#endif /* EI_DEVICE_NRF91_H */
```

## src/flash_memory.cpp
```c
/* The Clear BSD License
 *
 * Copyright (c) 2025 EdgeImpulse Inc.
 * All rights reserved.
 *
 * Redistribution and use in source and binary forms, with or without
 * modification, are permitted (subject to the limitations in the disclaimer
 * below) provided that the following conditions are met:
 *
 *   * Redistributions of source code must retain the above copyright notice,
 *   this list of conditions and the following disclaimer.
 *
 *   * Redistributions in binary form must reproduce the above copyright
 *   notice, this list of conditions and the following disclaimer in the
 *   documentation and/or other materials provided with the distribution.
 *
 *   * Neither the name of the copyright holder nor the names of its
 *   contributors may be used to endorse or promote products derived from this
 *   software without specific prior written permission.
 *
 * NO EXPRESS OR IMPLIED LICENSES TO ANY PARTY'S PATENT RIGHTS ARE GRANTED BY
 * THIS LICENSE. THIS SOFTWARE IS PROVIDED BY THE COPYRIGHT HOLDERS AND
 * CONTRIBUTORS "AS IS" AND ANY EXPRESS OR IMPLIED WARRANTIES, INCLUDING, BUT NOT
 * LIMITED TO, THE IMPLIED WARRANTIES OF MERCHANTABILITY AND FITNESS FOR A
 * PARTICULAR PURPOSE ARE DISCLAIMED. IN NO EVENT SHALL THE COPYRIGHT HOLDER OR
 * CONTRIBUTORS BE LIABLE FOR ANY DIRECT, INDIRECT, INCIDENTAL, SPECIAL,
 * EXEMPLARY, OR CONSEQUENTIAL DAMAGES (INCLUDING, BUT NOT LIMITED TO,
 * PROCUREMENT OF SUBSTITUTE GOODS OR SERVICES; LOSS OF USE, DATA, OR PROFITS; OR
 * BUSINESS INTERRUPTION) HOWEVER CAUSED AND ON ANY THEORY OF LIABILITY, WHETHER
 * IN CONTRACT, STRICT LIABILITY, OR TORT (INCLUDING NEGLIGENCE OR OTHERWISE)
 * ARISING IN ANY WAY OUT OF THE USE OF THIS SOFTWARE, EVEN IF ADVISED OF THE
 * POSSIBILITY OF SUCH DAMAGE.
 */

#include <zephyr/logging/log.h>
LOG_MODULE_REGISTER(memory, CONFIG_EI_LOG_LEVEL);
#include <zephyr/kernel.h>
#include <zephyr/device.h>
#include <zephyr/drivers/flash.h>
#include "flash_memory.h"

#define EXTERNAL_FLASH_DEVICE_SIZE_BITS     DT_PROP(DT_INST(0, jedec_spi_nor), size)    /*< configured in device tree of the board >*/
#define EXTERNAL_FLASH_DEVICE_SIZE_BYTES    ((EXTERNAL_FLASH_DEVICE_SIZE_BITS)/8)       /*< On board Flash size, size in DT is in bits >*/



uint32_t EiFlashMemory::read_data(uint8_t *data, uint32_t address, uint32_t num_bytes)
{
    int ret;

    if(address + num_bytes > this->memory_size) {
        num_bytes = this->memory_size - address;
    }

    ret = flash_read(this->flash_dev, address, data, num_bytes);
    if(ret) {
        LOG_ERR("flash_read failed: %d", ret);
        return 0;
    }

    return num_bytes;
}

uint32_t EiFlashMemory::write_data(const uint8_t *data, uint32_t address, uint32_t num_bytes)
{
    int ret;

    if(address + num_bytes > this->memory_size) {
        LOG_ERR("write_data out of bounds");
        return 0;
    }

    ret = flash_write(this->flash_dev, address, data, num_bytes);
    if(ret) {
        LOG_ERR("flash_write failed: %d", ret);
        return 0;
    }

    return num_bytes;
}

uint32_t EiFlashMemory::erase_data(uint32_t address, uint32_t num_bytes)
{
    int ret;
    struct flash_pages_info info;
    uint32_t page_offset;
    uint32_t bytes_to_erase = num_bytes;

    if(address + num_bytes > this->memory_size) {
        LOG_ERR("erase_data out of bounds");
        return 0;
    }

    // Check if address is page aligned
    ret = flash_get_page_info_by_offs(this->flash_dev, address, &info);
    if(ret) {
        LOG_ERR("page_info failed: %d", ret);
        return 0;
    }

    // calculate page offset and increase number of bytes to erase
    page_offset = address - info.start_offset;
    bytes_to_erase += page_offset;

    // check if numkber of bytes to erase is a multiple of page size
    if(bytes_to_erase % info.size != 0) {
        bytes_to_erase += info.size - (bytes_to_erase % info.size);
    }

    ret = flash_erase(this->flash_dev, info.start_offset, bytes_to_erase);
    if(ret) {
        LOG_ERR("flash_erase failed: %d", ret);
        return 0;
    }

    return num_bytes;
}

EiFlashMemory::EiFlashMemory(uint32_t config_size):
    EiDeviceMemory(
        config_size,
        10,
        EXTERNAL_FLASH_DEVICE_SIZE_BYTES,
        CONFIG_SPI_NOR_FLASH_LAYOUT_PAGE_SIZE),
    flash_dev(DEVICE_DT_GET(DT_COMPAT_GET_ANY_STATUS_OKAY(jedec_spi_nor)))
    {
    if (!device_is_ready(this->flash_dev)) {
        LOG_ERR("%s: device not ready.", this->flash_dev->name);
    }
}
```

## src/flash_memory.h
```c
/* The Clear BSD License
 *
 * Copyright (c) 2025 EdgeImpulse Inc.
 * All rights reserved.
 *
 * Redistribution and use in source and binary forms, with or without
 * modification, are permitted (subject to the limitations in the disclaimer
 * below) provided that the following conditions are met:
 *
 *   * Redistributions of source code must retain the above copyright notice,
 *   this list of conditions and the following disclaimer.
 *
 *   * Redistributions in binary form must reproduce the above copyright
 *   notice, this list of conditions and the following disclaimer in the
 *   documentation and/or other materials provided with the distribution.
 *
 *   * Neither the name of the copyright holder nor the names of its
 *   contributors may be used to endorse or promote products derived from this
 *   software without specific prior written permission.
 *
 * NO EXPRESS OR IMPLIED LICENSES TO ANY PARTY'S PATENT RIGHTS ARE GRANTED BY
 * THIS LICENSE. THIS SOFTWARE IS PROVIDED BY THE COPYRIGHT HOLDERS AND
 * CONTRIBUTORS "AS IS" AND ANY EXPRESS OR IMPLIED WARRANTIES, INCLUDING, BUT NOT
 * LIMITED TO, THE IMPLIED WARRANTIES OF MERCHANTABILITY AND FITNESS FOR A
 * PARTICULAR PURPOSE ARE DISCLAIMED. IN NO EVENT SHALL THE COPYRIGHT HOLDER OR
 * CONTRIBUTORS BE LIABLE FOR ANY DIRECT, INDIRECT, INCIDENTAL, SPECIAL,
 * EXEMPLARY, OR CONSEQUENTIAL DAMAGES (INCLUDING, BUT NOT LIMITED TO,
 * PROCUREMENT OF SUBSTITUTE GOODS OR SERVICES; LOSS OF USE, DATA, OR PROFITS; OR
 * BUSINESS INTERRUPTION) HOWEVER CAUSED AND ON ANY THEORY OF LIABILITY, WHETHER
 * IN CONTRACT, STRICT LIABILITY, OR TORT (INCLUDING NEGLIGENCE OR OTHERWISE)
 * ARISING IN ANY WAY OUT OF THE USE OF THIS SOFTWARE, EVEN IF ADVISED OF THE
 * POSSIBILITY OF SUCH DAMAGE.
 */

#ifndef EI_FLASH_MEMORY_H
#define EI_FLASH_MEMORY_H

#include "firmware-sdk/ei_device_memory.h"

class EiFlashMemory : public EiDeviceMemory {
private:
    const struct device *flash_dev;
protected:
    uint32_t read_data(uint8_t *data, uint32_t address, uint32_t num_bytes);
    uint32_t write_data(const uint8_t *data, uint32_t address, uint32_t num_bytes);
    uint32_t erase_data(uint32_t address, uint32_t num_bytes);

public:
    EiFlashMemory(uint32_t config_size);
};

#endif /* EI_FLASH_MEMORY_H */
```
